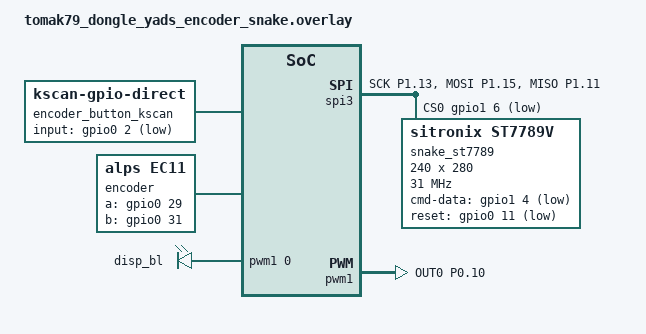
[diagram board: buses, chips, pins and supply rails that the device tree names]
#include <behaviors.dtsi>
#include <dt-bindings/zmk/matrix_transform.h>
#include <dt-bindings/zmk/keys.h>
#include "tomak79_layout_only.dtsi"

/ {
    chosen {
        zmk,kscan = &encoder_button_matrix;
        zmk,physical-layout = &physical_layout0;
        zephyr,display = &snake_st7789;
        zephyr,backlight = &disp_bl;
        zephyr,buzzer = &disp_bl;
        /delete-property/ zmk,underglow;
    };

    encoder_button_kscan: encoder_button_kscan {
        compatible = "zmk,kscan-gpio-direct";
        wakeup-source;
        debounce-press-ms = <10>;
        debounce-release-ms = <10>;
        input-gpios = <&gpio0 2 (GPIO_ACTIVE_LOW | GPIO_PULL_UP)>;
    };

    encoder_button_matrix: encoder_button_matrix {
        compatible = "zmk,kscan-composite";
        rows = <6>;
        columns = <16>;

        encoder_button {
            kscan = <&encoder_button_kscan>;
            row-offset = <5>;
            col-offset = <1>;
        };
    };

    encoder: encoder {
        compatible = "alps,ec11";
        a-gpios = <&gpio0 29 (GPIO_ACTIVE_HIGH | GPIO_PULL_UP)>;
        b-gpios = <&gpio0 31 (GPIO_ACTIVE_HIGH | GPIO_PULL_UP)>;
        steps = <80>;
        status = "okay";
    };

    sensors: sensors {
        compatible = "zmk,keymap-sensors";
        sensors = <&encoder>;
        triggers-per-rotation = <40>;
    };

    pwmleds {
        compatible = "pwm-leds";
        disp_bl: pwm_led_1 {
            pwms = <&pwm1 0 PWM_MSEC(1) PWM_POLARITY_NORMAL>;
        };
    };
};

&pro_micro_serial {
    status = "disabled";
};

&dongle_action_direct_kscan {
    status = "disabled";
};

&{/dongle_action_sideband_behaviors} {
    status = "disabled";
};

&spi0 {
    status = "disabled";
};

&spi1 {
    status = "disabled";
};

&st7789v {
    status = "disabled";
};

&pwm0 {
    status = "disabled";
};

&pinctrl {
    snake_spi3_default: snake_spi3_default {
        group1 {
            psels = <NRF_PSEL(SPIM_SCK, 1, 13)>,
                    <NRF_PSEL(SPIM_MOSI, 1, 15)>,
                    <NRF_PSEL(SPIM_MISO, 1, 11)>;
        };
    };

    snake_spi3_sleep: snake_spi3_sleep {
        group1 {
            psels = <NRF_PSEL(SPIM_SCK, 1, 13)>,
                    <NRF_PSEL(SPIM_MOSI, 1, 15)>,
                    <NRF_PSEL(SPIM_MISO, 1, 11)>;
            low-power-enable;
        };
    };

    snake_pwm1_default: snake_pwm1_default {
        group1 {
            psels = <NRF_PSEL(PWM_OUT0, 0, 10)>;
            nordic,invert;
        };
    };

    snake_pwm1_sleep: snake_pwm1_sleep {
        group1 {
            psels = <NRF_PSEL(PWM_OUT0, 0, 10)>;
            low-power-enable;
        };
    };
};

&spi3 {
    compatible = "nordic,nrf-spim";
    status = "okay";
    pinctrl-0 = <&snake_spi3_default>;
    pinctrl-1 = <&snake_spi3_sleep>;
    pinctrl-names = "default", "sleep";
    cs-gpios = <&gpio1 6 GPIO_ACTIVE_LOW>;

    snake_st7789: st7789v@0 {
        compatible = "sitronix,st7789v";
        spi-max-frequency = <31000000>;
        reg = <0>;
        cmd-data-gpios = <&gpio1 4 GPIO_ACTIVE_LOW>;
        reset-gpios = <&gpio0 11 GPIO_ACTIVE_LOW>;
        width = <240>;
        height = <280>;
        x-offset = <0>;
        y-offset = <20>;
        vcom = <0x19>;
        gctrl = <0x35>;
        vrhs = <0x12>;
        vdvs = <0x20>;
        mdac = <0x00>;
        gamma = <0x01>;
        colmod = <0x05>;
        lcm = <0x2c>;
        porch-param = [0c 0c 00 33 33];
        cmd2en-param = [5a 69 02 01];
        pwctrl1-param = [a4 a1];
        pvgam-param = [D0 04 0D 11 13 2B 3F 54 4C 18 0D 0B 1F 23];
        nvgam-param = [D0 04 0C 11 13 2C 3F 44 51 2F 1F 1F 20 23];
        ram-param = [00 F0];
        rgb-param = [CD 08 14];
    };
};

&pwm1 {
    status = "okay";
    pinctrl-0 = <&snake_pwm1_default>;
    pinctrl-1 = <&snake_pwm1_sleep>;
    pinctrl-names = "default", "sleep";
};
